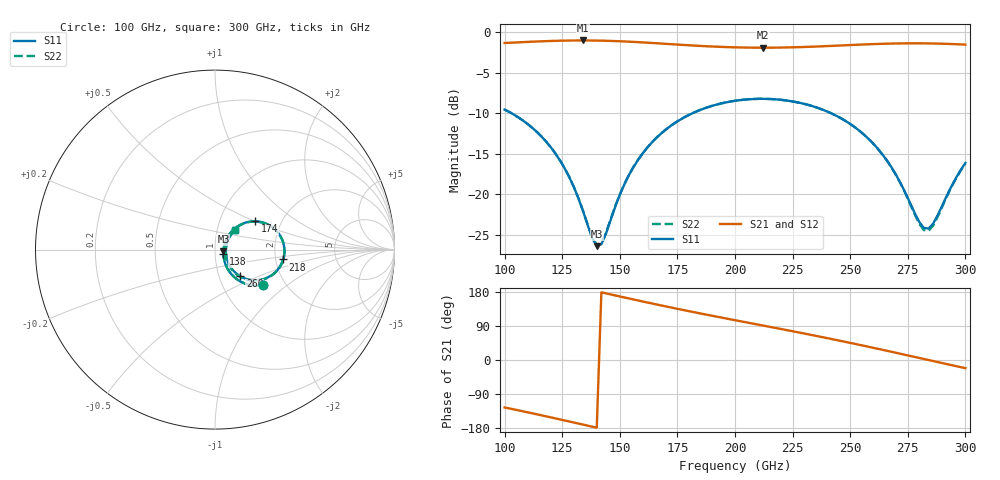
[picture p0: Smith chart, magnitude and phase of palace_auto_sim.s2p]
#  GHZ S DB R 50
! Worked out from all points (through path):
!   101 points, 100 GHz to 300 GHz, reference 50 ohm
!   highest |S21| = -1.05 dB at 134 GHz (marker M1); lowest = -1.9 dB at 212 GHz (marker M2)
!   group delay of S21, straight-line fit = 3.5 ps
!   lowest |S11| = -26.4 dB at 140 GHz (marker M3), VSWR 1.10, Z = 54.9 - j1.01 ohm
!   |S11| at or under -10 dB: 102.8 GHz to 181.7 GHz (78.9 GHz wide, 55.5 % of centre); 241.5 GHz to end of sweep
!   |S22| runs from -26.3 to -8.2 dB; largest |S21 - S12| = 1.4e-13
!   S11 on the Smith chart (normalised r, x): 100 GHz: 1.55, -0.69; 138 GHz: 1.10, -0.06; 174 GHz: 1.48, +0.50; 218 GHz: 2.20, -0.28; 260 GHz: 1.26, -0.39; 300 GHz: 1.22, +0.27
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100  -9.57 -36.4  -1.36 -125.2  -1.36 -125.2  -9.57 -36.5
120  -14.20 -54.4  -1.11 -151.3  -1.11 -151.3  -14.20 -54.4
128  -17.86 -56.8  -1.06 -162.2  -1.06 -162.2  -17.85 -56.6
134  -22.07 -49.2  -1.05 -170.4  -1.05 -170.4  -22.02 -48.8
138  -25.42 -29.1  -1.05 -175.9  -1.05 -175.9  -25.29 -28.8
140  -26.42 -11.1  -1.06 -178.7  -1.06 -178.7  -26.26 -11.1
142  -26.18 8.9  -1.07 178.6  -1.07 178.6  -26.02 8.5
150  -20.08 45.1  -1.15 167.7  -1.15 167.7  -20.04 44.4
156  -16.63 47.5  -1.23 159.6  -1.23 159.6  -16.61 46.9
168  -12.50 40.3  -1.43 143.9  -1.43 143.9  -12.49 39.8
174  -11.21 35.0  -1.54 136.3  -1.54 136.3  -11.20 34.5
186  -9.50 23.5  -1.73 121.6  -1.73 121.6  -9.49 23.0
200  -8.49 9.7  -1.89 105.1  -1.89 105.1  -8.48 9.2
212  -8.25 -2.2  -1.94 91.1  -1.94 91.1  -8.24 -2.8
218  -8.32 -8.2  -1.93 84.1  -1.93 84.1  -8.31 -8.7
234  -9.18 -24.0  -1.81 65.1  -1.81 65.1  -9.18 -24.6
248  -10.98 -37.2  -1.64 47.7  -1.64 47.7  -10.98 -38.0
260  -13.77 -46.5  -1.50 32.2  -1.50 32.2  -13.78 -47.4
268  -16.73 -48.8  -1.43 21.6  -1.43 21.6  -16.76 -49.9
280  -23.45 -23.4  -1.40 5.3  -1.40 5.3  -23.66 -24.7
284  -24.24 3.3  -1.41 -0.1  -1.41 -0.1  -24.52 2.9
300  -16.16 44.1  -1.56 -21.6  -1.56 -21.6  -16.20 44.2
